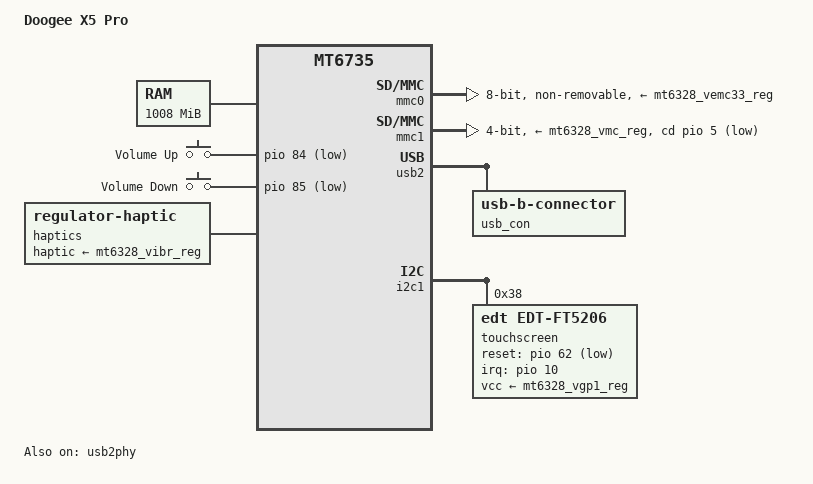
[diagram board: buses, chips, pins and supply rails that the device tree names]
// SPDX-License-Identifier: BSD-3-Clause

/dts-v1/;

#include "mt6735m.dtsi"
#include "mt6328.dtsi"
#include <dt-bindings/gpio/gpio.h>
#include <dt-bindings/input/input.h>
#include <dt-bindings/pinctrl/mediatek,mt6735-pinctrl.h>

/ {
	model = "Doogee X5 Pro";
	compatible = "doogee,x5pro", "mediatek,mt6735";

	chosen {
		#address-cells = <2>;
		#size-cells = <2>;
		ranges;

		stdout-path = "framebuffer";

		zimage64,cmdline-override = "console=tty0 ignore_loglevel clk_ignore_unused pd_ignore_unused regulator_ignore_unused";

		framebuffer: framebuffer@bf330000 {
			compatible = "simple-framebuffer";
			reg = <0 0xbf330000 0 0x1000000>;
			width = <720>;
			height = <1280>;
			stride = <((720 + 16) * 4)>;
			format = "a8r8g8b8";
		};
	};

	memory@40000000 {
		device_type = "memory";
		reg = <0 0x40000000 0 0x3f000000>;
	};

	reserved-memory {
		ramoops@43f10000 {
			compatible = "ramoops";
			reg = <0x0 0x43f10000 0x0 0x000e0000>;
			no-map;

			record-size = <0x00080000>;
			console-size = <0x00010000>;
			ftrace-size  = <0x00020000>;
			pmsg-size    = <0x00010000>;
		};

		fb_mem: memory@bf330000 {
			reg = <0 0xbf330000 0 0x1000000>;
			no-map;
		};
	};

	gpio-keys {
		compatible = "gpio-keys";

		pinctrl-names = "default";
		pinctrl-0 = <&gpio_keys_default>;

		key-volume-up {
			label = "Volume Up";
			linux,code = <KEY_VOLUMEUP>;
			gpios = <&pio 84 GPIO_ACTIVE_LOW>;
		};

		key-volume-down {
			label = "Volume Down";
			linux,code = <KEY_VOLUMEDOWN>;
			gpios = <&pio 85 GPIO_ACTIVE_LOW>;
		};
	};

	haptics {
		compatible = "regulator-haptic";
		haptic-supply = <&mt6328_vibr_reg>;
		min-microvolt = <1200000>;
		max-microvolt = <3300000>;
	};
};

/* Secondary CPUs are broken on this platform due to firmware issues */
/delete-node/ &cpu1;
/delete-node/ &cpu2;
/delete-node/ &cpu3;

&mmc0 {
	status = "okay";

	vmmc-supply = <&mt6328_vemc33_reg>;
	vqmmc-supply = <&mt6328_vio18_reg>;

	bus-width = <8>;
	max-frequency = <200000000>;
	cap-mmc-highspeed;
	mmc-ddr-1_8v;
	mmc-hs200-1_8v;
	mmc-hs400-1_8v;
	non-removable;

	mediatek,hs200-cmd-int-delay = <11>;
	mediatek,hs400-cmd-int-delay = <6>;
	mediatek,hs400-cmd-resp-sel-rising;
	mediatek,hs400-ds-dly3 = <10>;
	mediatek,latch-ck = <1>;
};

&mmc1 {
	status = "okay";

	vmmc-supply = <&mt6328_vmc_reg>;
	vqmmc-supply = <&mt6328_vmch_reg>;

	bus-width = <4>;
	max-frequency = <200000000>;
	cap-sd-highspeed;
	sd-uhs-sdr12;
	sd-uhs-sdr25;
	sd-uhs-sdr50;
	sd-uhs-sdr104;
	sd-uhs-ddr50;

	cd-gpios = <&pio 5 GPIO_ACTIVE_LOW>;
};

&mt6328_keys {
	status = "okay";
};

&pio {
	gpio_keys_default: gpio-keys-default-pins {
		pins-vol-up {
			pinmux = <PINMUX_GPIO84__FUNC_GPIO84>;
		};

		pins-vol-down {
			pinmux = <PINMUX_GPIO85__FUNC_GPIO85>;
		};
	};

	touchscreen_default: touchscreen-default-pins {
		pins-reset {
			pinmux = <PINMUX_GPIO62__FUNC_GPIO62>;
		};

		pins-eint {
			pinmux = <PINMUX_GPIO10__FUNC_GPIO10>;
		};
	};
};

&pwrap {
	status = "okay";
};

&spm {
	/* currently, power domain doesn't power on and fb console not showing up on
	* the screen.
	*/
	/delete-node/ power-domain@MT6735_POWER_DOMAIN_VEN;
};

&usb2 {
	status = "okay";

	usb_con: connector {
		compatible = "usb-b-connector";
		type = "micro";
	};
};

&usb2phy {
	status = "okay";
};

&i2c1 {
	status = "okay";

	touchscreen@38 {
		compatible = "edt,edt-ft5206";
		reg = <0x38>;
		pinctrl-names = "default";
		pinctrl-0 = <&touchscreen_default>;
		vcc-supply = <&mt6328_vgp1_reg>;
		reset-gpios = <&pio 62 GPIO_ACTIVE_LOW>;
		interrupt-parent = <&pio>;
		interrupts = <10 IRQ_TYPE_EDGE_FALLING>;
		touchscreen-size-x = <720>;
		touchscreen-size-y = <1280>;
	};
};
